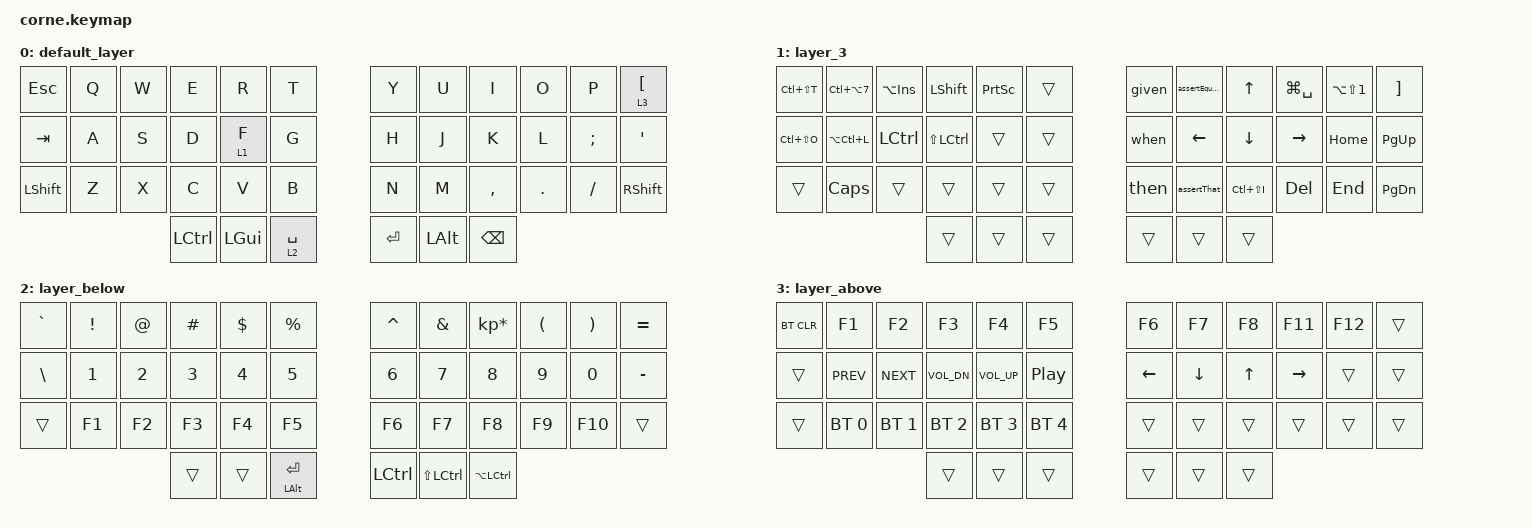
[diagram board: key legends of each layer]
/*
 * Copyright (c) 2020 The ZMK Contributors
 *
 * SPDX-License-Identifier: MIT
 */

#include <behaviors.dtsi>
#include <dt-bindings/zmk/bt.h>
#include <dt-bindings/zmk/keys.h>

/ {
    behaviors {
        tp: tap_preferred {
            compatible = "zmk,behavior-hold-tap";
            label = "TAP_PREFERRED";
            #binding-cells = <2>;
            tapping-term-ms = <150>;
            quick-tap-ms = <0>;
            flavor = "tap-preferred";
            bindings = <&kp>, <&kp>;
        };
    };

    macros {
        given: given {
            compatible = "zmk,behavior-macro";
            #binding-cells = <0>;
            bindings = <&kp HOME &kp ENTER &kp UP_ARROW &kp FSLH &kp FSLH &kp SPACE &kp G &kp I &kp V &kp E &kp N>;
            label = "GIVEN";
        };

        when: when {
            compatible = "zmk,behavior-macro";
            #binding-cells = <0>;
            bindings = <&kp HOME &kp ENTER &kp UP_ARROW &kp FSLH &kp FSLH &kp SPACE &kp W &kp H &kp E &kp N>;
            label = "WHEN";
        };

        then: then {
            compatible = "zmk,behavior-macro";
            #binding-cells = <0>;
            bindings = <&kp HOME &kp ENTER &kp UP_ARROW &kp FSLH &kp FSLH &kp SPACE &kp T &kp H &kp E &kp N>;
            label = "THEN";
        };

        assertEquals: assertEquals {
            compatible = "zmk,behavior-macro";
            #binding-cells = <0>;
            bindings = <&kp A &kp S &kp S &kp E &kp R &kp T &kp LS(E) &kp Q &kp U &kp A &kp L &kp S &kp LPAR &kp RPAR &kp SEMI &kp LEFT_ARROW &kp LEFT_ARROW>;
            label = "ASSERTEQUALS";
        };

        assertThat: assertThat {
            compatible = "zmk,behavior-macro";
            #binding-cells = <0>;
            bindings = <&kp A &kp S &kp S &kp E &kp R &kp T &kp LS(T) &kp H &kp A &kp T &kp LPAR &kp RPAR &kp SEMI &kp LEFT &kp LEFT>;
            label = "ASSERTTHAT";
        };
    };

    keymap {
        compatible = "zmk,keymap";

        default_layer {
            // -----------------------------------------------------------------------------------------
            // | TAB  |  Q  |  W  |  E  |  R  |    T    |   |  Y  |  U   |  I  |  O  |  P  | ESC |
            // | CTRL |  A  |  S  |  D  |  F  |    G    |   |  H  |  J   |  K  |  L  |  ;  |  LWR/'   |
            // | SHFT |  Z  |  X  |  C  |  V  |    B    |   |  N  |  M   |  ,  |  .  |  /  | SHFT |
            //                    | GUI | LWR | ALT/ENT |   | HYPER/SPC | BKSP  | RSE |

            bindings = <
&kp ESCAPE  &kp Q  &kp W  &kp E      &kp R         &kp T          &kp Y      &kp U         &kp I          &kp O    &kp P          &lt 3 LEFT_BRACKET
&kp TAB     &kp A  &kp S  &kp D      &lt 1 F       &kp G          &kp H      &kp J         &kp K          &kp L    &kp SEMICOLON  &kp SQT
&kp LSHFT   &kp Z  &kp X  &kp C      &kp V         &kp B          &kp N      &kp M         &kp COMMA      &kp DOT  &kp FSLH       &kp RSHFT
                          &kp LCTRL  &kp LEFT_GUI  &lt 2 SPACE    &kp ENTER  &kp LEFT_ALT  &kp BACKSPACE
            >;
        };

        layer_3 {
            bindings = <
&kp LC(LS(T))  &kp LC(LA(N7))  &kp LA(INSERT)  &kp LEFT_SHIFT  &kp PRINTSCREEN  &trans    &given  &assertEquals   &kp UP_ARROW    &kp LG(SPACE)    &kp LA(LS(NUMBER_1))  &kp RIGHT_BRACKET
&kp LC(LS(O))  &kp LA(LC(L))   &kp LCTRL       &kp LS(LCTRL)   &trans           &trans    &when   &kp LEFT_ARROW  &kp DOWN_ARROW  &kp RIGHT_ARROW  &kp HOME              &kp PAGE_UP
&trans         &kp CAPSLOCK    &trans          &trans          &trans           &trans    &then   &assertThat     &kp LC(LS(I))   &kp DELETE       &kp END               &kp PAGE_DOWN
                                               &trans          &trans           &trans    &trans  &trans          &trans
            >;
        };

        layer_below {
            // -----------------------------------------------------------------------------------------
            // |      |  !  |  @  |  #  |  $  |    %     |   |  ^  |  &  |  *  |  (  |  )  |   \   |
            // |      |  1  |  2  |  3  |  4  |    5     |   |  -  |  =  |  `  |  [  |  ]  |  "|"  |
            // | SHFT |  6  |  7  |  8  |  9  |    0     |   |  _  |  +  |  ~  |  {  |  }  | RSHFT |
            //                     | GUI |     | ALT/ENT |   | HYPER/SPACE | BKSP |    |

            bindings = <
&kp GRAVE      &kp EXCL  &kp AT  &kp HASH  &kp DLLR  &kp PRCNT       &kp CARET     &kp AMPS       &kp KP_MULTIPLY  &kp LPAR  &kp RPAR  &kp EQUAL
&kp BACKSLASH  &kp N1    &kp N2  &kp N3    &kp N4    &kp N5          &kp NUMBER_6  &kp N7         &kp N8           &kp N9    &kp N0    &kp MINUS
&trans         &kp F1    &kp F2  &kp F3    &kp F4    &kp F5          &kp F6        &kp F7         &kp F8           &kp F9    &kp F10   &trans
                                 &trans    &trans    &tp LALT RET    &kp LCTRL     &kp LS(LCTRL)  &kp LA(LCTRL)
            >;
        };

        layer_above {
            // -----------------------------------------------------------------------------------------
            // |       |  F1  |  F2  |  F3  |  F4  |  F5 |            |  F6  |  F7  |  F8  |  F9  |  F10  |   |
            // |       | Prev | Next | Vol - | Vol + | Play/Pause |   |      | LFT | DWN |  UP | RGT |     |     |
            // | BTCLR | BT1 | BT2 | BT3 | BT4 | BT5 |   |            |     |     |     |     |     |     |
            //                    |     |     |    |                  |     |     |     |

            bindings = <
&bt BT_CLR  &kp F1        &kp F2        &kp F3        &kp F4        &kp F5          &kp F6    &kp F7    &kp F8  &kp F11    &kp F12  &trans
&trans      &kp C_PREV    &kp C_NEXT    &kp C_VOL_DN  &kp C_VOL_UP  &kp C_PP        &kp LEFT  &kp DOWN  &kp UP  &kp RIGHT  &trans   &trans
&trans      &bt BT_SEL 0  &bt BT_SEL 1  &bt BT_SEL 2  &bt BT_SEL 3  &bt BT_SEL 4    &trans    &trans    &trans  &trans     &trans   &trans
                                        &trans        &trans        &trans          &trans    &trans    &trans
            >;
        };
    };
};
